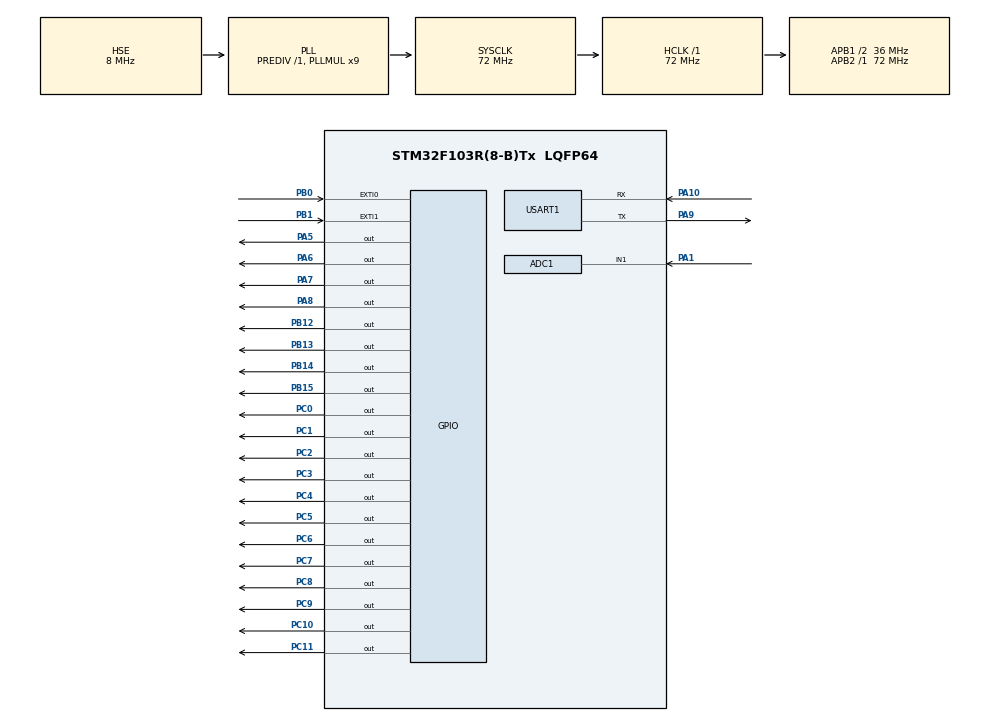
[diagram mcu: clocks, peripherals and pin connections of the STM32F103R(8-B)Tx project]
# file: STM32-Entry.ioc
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ADC1.Channel-5\#ChannelRegularConversion=ADC_CHANNEL_1
ADC1.ContinuousConvMode=ENABLE
ADC1.Mode=__NULL
ADC1.NbrOfConversionFlag=1
ADC1.Rank-5\#ChannelRegularConversion=1
ADC1.SamplingTime-5\#ChannelRegularConversion=ADC_SAMPLETIME_1CYCLE_5
ADC1.master=1
Mcu.Family=STM32F1
Mcu.Name=STM32F103R(8-B)Tx
Mcu.Package=LQFP64
NVIC.EXTI0_IRQn=true\:1\:0\:true\:false\:true\:true\:true
NVIC.EXTI1_IRQn=true\:1\:0\:true\:false\:true\:true\:true
NVIC.PriorityGroup=NVIC_PRIORITYGROUP_4
PA1.Signal=ADCx_IN1
PA10.Mode=Asynchronous
PA10.Signal=USART1_RX
PA13.Mode=JTAG_5_pins
PA13.Signal=SYS_JTMS-SWDIO
PA14.Mode=JTAG_5_pins
PA14.Signal=SYS_JTCK-SWCLK
PA15.Mode=JTAG_5_pins
PA15.Signal=SYS_JTDI
PA5.Signal=GPIO_Output
PA6.Signal=GPIO_Output
PA7.Signal=GPIO_Output
PA8.Signal=GPIO_Output
PA9.Mode=Asynchronous
PA9.Signal=USART1_TX
PB0.GPIO_ModeDefaultEXTI=GPIO_MODE_IT_FALLING
PB0.Signal=GPXTI0
PB1.GPIO_ModeDefaultEXTI=GPIO_MODE_IT_FALLING
PB1.Signal=GPXTI1
PB12.Signal=GPIO_Output
PB13.Signal=GPIO_Output
PB14.Signal=GPIO_Output
PB15.Signal=GPIO_Output
PB3.Mode=JTAG_5_pins
PB3.Signal=SYS_JTDO-TRACESWO
PB4.Mode=JTAG_5_pins
PB4.Signal=SYS_NJTRST
PC0.Signal=GPIO_Output
PC1.Signal=GPIO_Output
PC10.Signal=GPIO_Output
PC11.Signal=GPIO_Output
PC2.Signal=GPIO_Output
PC3.Signal=GPIO_Output
PC4.Signal=GPIO_Output
PC5.Signal=GPIO_Output
PC6.Signal=GPIO_Output
PC7.Signal=GPIO_Output
PC8.Signal=GPIO_Output
PC9.Signal=GPIO_Output
PD0-OSC_IN.Mode=HSE-External-Oscillator
PD0-OSC_IN.Signal=RCC_OSC_IN
PD1-OSC_OUT.Mode=HSE-External-Oscillator
PD1-OSC_OUT.Signal=RCC_OSC_OUT
ProjectManager.HeapSize=0x200
ProjectManager.StackSize=0x800
ProjectManager.TargetToolchain=MDK-ARM V5
RCC.ADCPresc=RCC_ADCPCLK2_DIV6
RCC.AHBFreq_Value=72000000
RCC.APB1CLKDivider=RCC_HCLK_DIV2
RCC.APB1Freq_Value=36000000
RCC.APB1TimFreq_Value=72000000
RCC.APB2Freq_Value=72000000
RCC.APB2TimFreq_Value=72000000
RCC.HCLKFreq_Value=72000000
RCC.PLLMUL=RCC_PLL_MUL9
RCC.PLLSourceVirtual=RCC_PLLSOURCE_HSE
RCC.SYSCLKFreq_VALUE=72000000
RCC.SYSCLKSource=RCC_SYSCLKSOURCE_PLLCLK
RCC.USBFreq_Value=72000000
SH.ADCx_IN1.0=ADC1_IN1,IN1
USART1.VirtualMode=VM_ASYNC
board=STM32-Entry

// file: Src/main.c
/* USER CODE BEGIN Header */
/**
  ******************************************************************************
  * @file           : main.c
  * @brief          : Main program body
  ******************************************************************************
  ** This notice applies to any and all portions of this file
  * that are not between comment pairs USER CODE BEGIN and
  * USER CODE END. Other portions of this file, whether
  * inserted by the user or by software development tools
  * are owned by their respective copyright owners.
  *
  * COPYRIGHT(c) 2019 STMicroelectronics
  *
  * Redistribution and use in source and binary forms, with or without modification,
  * are permitted provided that the following conditions are met:
  *   1. Redistributions of source code must retain the above copyright notice,
  *      this list of conditions and the following disclaimer.
  *   2. Redistributions in binary form must reproduce the above copyright notice,
  *      this list of conditions and the following disclaimer in the documentation
  *      and/or other materials provided with the distribution.
  *   3. Neither the name of STMicroelectronics nor the names of its contributors
  *      may be used to endorse or promote products derived from this software
  *      without specific prior written permission.
  *
  * THIS SOFTWARE IS PROVIDED BY THE COPYRIGHT HOLDERS AND CONTRIBUTORS "AS IS"
  * AND ANY EXPRESS OR IMPLIED WARRANTIES, INCLUDING, BUT NOT LIMITED TO, THE
  * IMPLIED WARRANTIES OF MERCHANTABILITY AND FITNESS FOR A PARTICULAR PURPOSE ARE
  * DISCLAIMED. IN NO EVENT SHALL THE COPYRIGHT HOLDER OR CONTRIBUTORS BE LIABLE
  * FOR ANY DIRECT, INDIRECT, INCIDENTAL, SPECIAL, EXEMPLARY, OR CONSEQUENTIAL
  * DAMAGES (INCLUDING, BUT NOT LIMITED TO, PROCUREMENT OF SUBSTITUTE GOODS OR
  * SERVICES; LOSS OF USE, DATA, OR PROFITS; OR BUSINESS INTERRUPTION) HOWEVER
  * CAUSED AND ON ANY THEORY OF LIABILITY, WHETHER IN CONTRACT, STRICT LIABILITY,
  * OR TORT (INCLUDING NEGLIGENCE OR OTHERWISE) ARISING IN ANY WAY OUT OF THE USE
  * OF THIS SOFTWARE, EVEN IF ADVISED OF THE POSSIBILITY OF SUCH DAMAGE.
  *
  ******************************************************************************
  */
/* USER CODE END Header */

#include "main.h"

/* USER CODE BEGIN Includes */
#include <stdarg.h>
#include <string.h>
#include "key.h"
#include "led.h"
#include "cds.h"
#include "fnd.h"
#include "uart.h"

/* USER CODE END Includes */

ADC_HandleTypeDef hadc1;
UART_HandleTypeDef huart1;

/* USER CODE BEGIN PV */
/* Private variables ---------------------------------------------------------*/

/* USER CODE END PV */

void SystemClock_Config(void);
static void MX_GPIO_Init(void);
static void MX_USART1_UART_Init(void);
static void MX_ADC1_Init(void);
/* USER CODE BEGIN PFP */
/* Private function prototypes -----------------------------------------------*/
extern void start_freertos_testing();

/* USER CODE END PFP */

/* USER CODE BEGIN 0 */
/*
void HAL_GPIO_EXTI_Callback(uint16_t GPIO_Pin)
{
	if (GPIO_Pin == GPIO_PIN_0)
	{
		*(int *)0xE000ED04 = (0x1 << 28);
		Uart_Printf("EXTI-0 interrupt. \r\n");
	}
	else if (GPIO_Pin == GPIO_PIN_1)
	{
		Uart_Printf("EXTI-1 interrupt. \r\n");
	}
}
*/
void MyPendSVHandler()
{
	__NOP();
}
/* USER CODE END 0 */

int main(void)
{

  /* MCU Configuration--------------------------------------------------------*/

  /* Reset of all peripherals, Initializes the Flash interface and the Systick. */
  HAL_Init();

  /* Configure the system clock */
  SystemClock_Config();

  /* Initialize all configured peripherals */
  MX_GPIO_Init();
  MX_USART1_UART_Init();
  MX_ADC1_Init();
  /* USER CODE BEGIN 2 */

	HAL_ADC_Start(&hadc1);

  /* USER CODE END 2 */

  /* Infinite loop */
  /* USER CODE BEGIN WHILE */
	led_off_all();
	start_freertos_testing();

	uint32_t k = 0;
  while (1)
  {
		/*
		*
		*/
		if (is_key_pressed(KEY_LEFT))
		{
			Uart_Printf("LEFT KEY PESSED \r\n");
		}
		else if (is_key_pressed(KEY_CENTER))
		{
			Uart_Printf("CENTER KEY PESSED \r\n");
		}
		else if (is_key_pressed(KEY_RIGHT))
		{
			Uart_Printf("RIGHT KEY PESSED \r\n");
		}

		/*
		*
		*/
		if ((k%5)==0)
		{
			static uint32_t n = 0;
			led_off_all();
			led_on(LED_0 + n);
			n = (n + 1) % 8;
		}

		/*
		*
		*/
		uint32_t tick;
		uint32_t a0, a1, a2, a3;

		tick = HAL_GetTick();
		a3 = (tick / 10) % 10;
		a2 = (tick / 100) % 10;
		a1 = (tick / 1000) % 10;
		a0 = (tick / 10000) % 10;

		display_number(0, a0);
		HAL_Delay(5);

		display_number(1, a1);
		HAL_Delay(5);

		display_number(2, a2);
		HAL_Delay(5);

		display_number(3, a3);
		HAL_Delay(5);

		/*
		*
		*/
		if ((k%10) == 0)
		{
			Uart_Printf("CDS Value : %d \r\n", get_cds_value());
		}

		k = k + 1;

    /* USER CODE END WHILE */

  }
}

void SystemClock_Config(void)
{
  RCC_OscInitTypeDef RCC_OscInitStruct = {0};
  RCC_ClkInitTypeDef RCC_ClkInitStruct = {0};
  RCC_PeriphCLKInitTypeDef PeriphClkInit = {0};

  /** Initializes the CPU, AHB and APB busses clocks
  */
  RCC_OscInitStruct.OscillatorType = RCC_OSCILLATORTYPE_HSE;
  RCC_OscInitStruct.HSEState = RCC_HSE_ON;
  RCC_OscInitStruct.HSEPredivValue = RCC_HSE_PREDIV_DIV1;
  RCC_OscInitStruct.HSIState = RCC_HSI_ON;
  RCC_OscInitStruct.PLL.PLLState = RCC_PLL_ON;
  RCC_OscInitStruct.PLL.PLLSource = RCC_PLLSOURCE_HSE;
  RCC_OscInitStruct.PLL.PLLMUL = RCC_PLL_MUL9;
  if (HAL_RCC_OscConfig(&RCC_OscInitStruct) != HAL_OK)
  {
    Error_Handler();
  }
  /** Initializes the CPU, AHB and APB busses clocks
  */
  RCC_ClkInitStruct.ClockType = RCC_CLOCKTYPE_HCLK|RCC_CLOCKTYPE_SYSCLK
                              |RCC_CLOCKTYPE_PCLK1|RCC_CLOCKTYPE_PCLK2;
  RCC_ClkInitStruct.SYSCLKSource = RCC_SYSCLKSOURCE_PLLCLK;
  RCC_ClkInitStruct.AHBCLKDivider = RCC_SYSCLK_DIV1;
  RCC_ClkInitStruct.APB1CLKDivider = RCC_HCLK_DIV2;
  RCC_ClkInitStruct.APB2CLKDivider = RCC_HCLK_DIV1;

  if (HAL_RCC_ClockConfig(&RCC_ClkInitStruct, FLASH_LATENCY_2) != HAL_OK)
  {
    Error_Handler();
  }
  PeriphClkInit.PeriphClockSelection = RCC_PERIPHCLK_ADC;
  PeriphClkInit.AdcClockSelection = RCC_ADCPCLK2_DIV6;
  if (HAL_RCCEx_PeriphCLKConfig(&PeriphClkInit) != HAL_OK)
  {
    Error_Handler();
  }
}

static void MX_ADC1_Init(void)
{

  ADC_ChannelConfTypeDef sConfig = {0};

  /** Common config
  */
  hadc1.Instance = ADC1;
  hadc1.Init.ScanConvMode = ADC_SCAN_DISABLE;
  hadc1.Init.ContinuousConvMode = ENABLE;
  hadc1.Init.DiscontinuousConvMode = DISABLE;
  hadc1.Init.ExternalTrigConv = ADC_SOFTWARE_START;
  hadc1.Init.DataAlign = ADC_DATAALIGN_RIGHT;
  hadc1.Init.NbrOfConversion = 1;
  if (HAL_ADC_Init(&hadc1) != HAL_OK)
  {
    Error_Handler();
  }
  /** Configure Regular Channel
  */
  sConfig.Channel = ADC_CHANNEL_1;
  sConfig.Rank = ADC_REGULAR_RANK_1;
  sConfig.SamplingTime = ADC_SAMPLETIME_1CYCLE_5;
  if (HAL_ADC_ConfigChannel(&hadc1, &sConfig) != HAL_OK)
  {
    Error_Handler();
  }

}

static void MX_USART1_UART_Init(void)
{

  huart1.Instance = USART1;
  huart1.Init.BaudRate = 115200;
  huart1.Init.WordLength = UART_WORDLENGTH_8B;
  huart1.Init.StopBits = UART_STOPBITS_1;
  huart1.Init.Parity = UART_PARITY_NONE;
  huart1.Init.Mode = UART_MODE_TX_RX;
  huart1.Init.HwFlowCtl = UART_HWCONTROL_NONE;
  huart1.Init.OverSampling = UART_OVERSAMPLING_16;
  if (HAL_UART_Init(&huart1) != HAL_OK)
  {
    Error_Handler();
  }

}

static void MX_GPIO_Init(void)
{
  GPIO_InitTypeDef GPIO_InitStruct = {0};

  /* GPIO Ports Clock Enable */
  __HAL_RCC_GPIOD_CLK_ENABLE();
  __HAL_RCC_GPIOC_CLK_ENABLE();
  __HAL_RCC_GPIOA_CLK_ENABLE();
  __HAL_RCC_GPIOB_CLK_ENABLE();

  /*Configure GPIO pin Output Level */
  HAL_GPIO_WritePin(GPIOC, GPIO_PIN_0|GPIO_PIN_1|GPIO_PIN_2|GPIO_PIN_3
                          |GPIO_PIN_4|GPIO_PIN_5|GPIO_PIN_6|GPIO_PIN_7
                          |GPIO_PIN_8|GPIO_PIN_9|GPIO_PIN_10|GPIO_PIN_11, GPIO_PIN_RESET);

  /*Configure GPIO pin Output Level */
  HAL_GPIO_WritePin(GPIOA, GPIO_PIN_5|GPIO_PIN_6|GPIO_PIN_7|GPIO_PIN_8, GPIO_PIN_RESET);

  /*Configure GPIO pin Output Level */
  HAL_GPIO_WritePin(GPIOB, GPIO_PIN_12|GPIO_PIN_13|GPIO_PIN_14|GPIO_PIN_15, GPIO_PIN_RESET);

  /*Configure GPIO pins : PC0 PC1 PC2 PC3
                           PC4 PC5 PC6 PC7
                           PC8 PC9 PC10 PC11 */
  GPIO_InitStruct.Pin = GPIO_PIN_0|GPIO_PIN_1|GPIO_PIN_2|GPIO_PIN_3
                          |GPIO_PIN_4|GPIO_PIN_5|GPIO_PIN_6|GPIO_PIN_7
                          |GPIO_PIN_8|GPIO_PIN_9|GPIO_PIN_10|GPIO_PIN_11;
  GPIO_InitStruct.Mode = GPIO_MODE_OUTPUT_PP;
  GPIO_InitStruct.Pull = GPIO_NOPULL;
  GPIO_InitStruct.Speed = GPIO_SPEED_FREQ_LOW;
  HAL_GPIO_Init(GPIOC, &GPIO_InitStruct);

  /*Configure GPIO pins : PA5 PA6 PA7 PA8 */
  GPIO_InitStruct.Pin = GPIO_PIN_5|GPIO_PIN_6|GPIO_PIN_7|GPIO_PIN_8;
  GPIO_InitStruct.Mode = GPIO_MODE_OUTPUT_PP;
  GPIO_InitStruct.Pull = GPIO_NOPULL;
  GPIO_InitStruct.Speed = GPIO_SPEED_FREQ_LOW;
  HAL_GPIO_Init(GPIOA, &GPIO_InitStruct);

  /*Configure GPIO pins : PB0 PB1 */
  GPIO_InitStruct.Pin = GPIO_PIN_0|GPIO_PIN_1;
  GPIO_InitStruct.Mode = GPIO_MODE_IT_FALLING;
  GPIO_InitStruct.Pull = GPIO_NOPULL;
  HAL_GPIO_Init(GPIOB, &GPIO_InitStruct);

  /*Configure GPIO pins : PB12 PB13 PB14 PB15 */
  GPIO_InitStruct.Pin = GPIO_PIN_12|GPIO_PIN_13|GPIO_PIN_14|GPIO_PIN_15;
  GPIO_InitStruct.Mode = GPIO_MODE_OUTPUT_PP;
  GPIO_InitStruct.Pull = GPIO_NOPULL;
  GPIO_InitStruct.Speed = GPIO_SPEED_FREQ_LOW;
  HAL_GPIO_Init(GPIOB, &GPIO_InitStruct);

  /* EXTI interrupt init*/
  HAL_NVIC_SetPriority(EXTI0_IRQn, 11, 0);
  HAL_NVIC_EnableIRQ(EXTI0_IRQn);

  HAL_NVIC_SetPriority(EXTI1_IRQn, 11, 0);
  HAL_NVIC_EnableIRQ(EXTI1_IRQn);

}

void Error_Handler(void)
{
}

/************************ (C) COPYRIGHT STMicroelectronics *****END OF FILE****/
